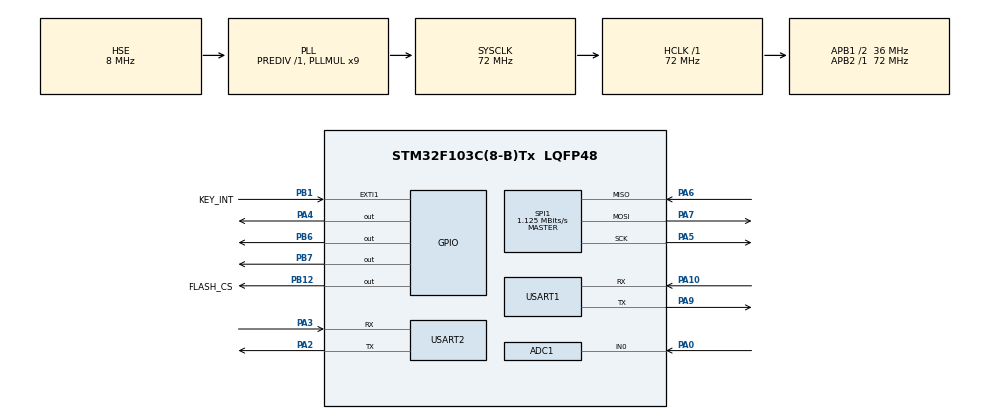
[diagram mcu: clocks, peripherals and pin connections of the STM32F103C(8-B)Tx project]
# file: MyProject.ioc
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ADC1.Channel-2\#ChannelRegularConversion=ADC_CHANNEL_0
ADC1.NbrOfConversionFlag=1
ADC1.Rank-2\#ChannelRegularConversion=1
ADC1.SamplingTime-2\#ChannelRegularConversion=ADC_SAMPLETIME_1CYCLE_5
ADC1.master=1
FREERTOS.BinarySemaphores01=keySemaphore,Dynamic,NULL,Depleted
FREERTOS.Queues01=sensorQueue,5,1,1,Dynamic,NULL,NULL
FREERTOS.Tasks01=myTask01,24,128,StartDefaultTask,Default,NULL,Dynamic,NULL,NULL;DisplayTask,24,128,StartDisplayTask,Default,NULL,Dynamic,NULL,NULL;LoggerTask,8,256,StartLoggerTask,Default,NULL,Dynamic,NULL,NULL
FREERTOS.configTOTAL_HEAP_SIZE=4096
Mcu.Family=STM32F1
Mcu.Name=STM32F103C(8-B)Tx
Mcu.Package=LQFP48
NVIC.EXTI1_IRQn=true\:5\:0\:true\:false\:true\:true\:true\:true\:true
NVIC.PriorityGroup=NVIC_PRIORITYGROUP_4
NVIC.TIM4_IRQn=true\:15\:0\:false\:false\:true\:false\:false\:true\:true
NVIC.TimeBase=TIM4_IRQn
NVIC.TimeBaseIP=TIM4
NVIC.USART2_IRQn=true\:5\:0\:false\:false\:true\:true\:true\:true\:true
PA0-WKUP.Signal=ADCx_IN0
PA10.Mode=Asynchronous
PA10.Signal=USART1_RX
PA13.Mode=Serial_Wire
PA13.Signal=SYS_JTMS-SWDIO
PA14.Mode=Serial_Wire
PA14.Signal=SYS_JTCK-SWCLK
PA2.Mode=Asynchronous
PA2.Signal=USART2_TX
PA3.Mode=Asynchronous
PA3.Signal=USART2_RX
PA4.Signal=GPIO_Output
PA5.Mode=Full_Duplex_Master
PA5.Signal=SPI1_SCK
PA6.Mode=Full_Duplex_Master
PA6.Signal=SPI1_MISO
PA7.Mode=Full_Duplex_Master
PA7.Signal=SPI1_MOSI
PA9.Mode=Asynchronous
PA9.Signal=USART1_TX
PB1.GPIO_Label=KEY_INT
PB1.GPIO_ModeDefaultEXTI=GPIO_MODE_IT_FALLING
PB1.GPIO_PuPd=GPIO_PULLUP
PB1.Signal=GPXTI1
PB12.GPIO_Label=FLASH_CS
PB12.Signal=GPIO_Output
PB6.Signal=GPIO_Output
PB7.Signal=GPIO_Output
PD0-OSC_IN.Mode=HSE-External-Oscillator
PD0-OSC_IN.Signal=RCC_OSC_IN
PD1-OSC_OUT.Mode=HSE-External-Oscillator
PD1-OSC_OUT.Signal=RCC_OSC_OUT
ProjectManager.HeapSize=0x200
ProjectManager.StackSize=0x400
ProjectManager.TargetToolchain=MDK-ARM V5.32
RCC.ADCPresc=RCC_ADCPCLK2_DIV6
RCC.AHBFreq_Value=72000000
RCC.APB1CLKDivider=RCC_HCLK_DIV2
RCC.APB1Freq_Value=36000000
RCC.APB1TimFreq_Value=72000000
RCC.APB2Freq_Value=72000000
RCC.APB2TimFreq_Value=72000000
RCC.HCLKFreq_Value=72000000
RCC.PLLMUL=RCC_PLL_MUL9
RCC.PLLSourceVirtual=RCC_PLLSOURCE_HSE
RCC.SYSCLKFreq_VALUE=72000000
RCC.SYSCLKSource=RCC_SYSCLKSOURCE_PLLCLK
RCC.USBFreq_Value=72000000
SH.ADCx_IN0.0=ADC1_IN0,IN0
SPI1.BaudRatePrescaler=SPI_BAUDRATEPRESCALER_64
SPI1.CLKPhase=SPI_PHASE_1EDGE
SPI1.CalculateBaudRate=1.125 MBits/s
SPI1.Direction=SPI_DIRECTION_2LINES
SPI1.Mode=SPI_MODE_MASTER
SPI1.VirtualType=VM_MASTER
USART1.VirtualMode=VM_ASYNC
USART2.VirtualMode=VM_ASYNC
VP_FREERTOS_VS_CMSIS_V2.Mode=CMSIS_V2
VP_SYS_VS_tim4.Mode=TIM4
board=custom

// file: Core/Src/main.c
/* USER CODE BEGIN Header */
/**
  ******************************************************************************
  * @file           : main.c
  * @brief          : Main program body
  ******************************************************************************
  * @attention
  *
  * Copyright (c) 2026 STMicroelectronics.
  * All rights reserved.
  *
  * This software is licensed under terms that can be found in the LICENSE file
  * in the root directory of this software component.
  * If no LICENSE file comes with this software, it is provided AS-IS.
  *
  ******************************************************************************
  */
/* USER CODE END Header */
#include "main.h"
#include "cmsis_os.h"
#include "adc.h"
#include "spi.h"
#include "usart.h"
#include "gpio.h"

/* USER CODE BEGIN Includes */
#include "OLED.h"
#include "AD.h"
#include "DHT11.h"
#include <stdio.h>
#include "stm32f1xx_hal.h"        // HAL 总头文件，已包含 IWDG 定义
#include "w25q64.h"                // ====== 新增：W25Q64驱动 ======
/* USER CODE END Includes */

/* USER CODE BEGIN PD */
// ====== 新增：LED和蜂鸣器引脚定义 ======
#define LED_Pin     GPIO_PIN_8
#define LED_GPIO_Port   GPIOA
#define BUZZER_Pin  GPIO_PIN_0
#define BUZZER_GPIO_Port GPIOB
/* USER CODE END PD */

void SystemClock_Config(void);
void MX_FREERTOS_Init(void);

/* USER CODE BEGIN 0 */
extern osSemaphoreId_t keySemaphoreHandle;

// 独立看门狗初始化（直接操作寄存器）
void IWDG_Init(void)
{
    // 1. 使能写访问
    IWDG->KR = 0x5555;
    // 2. 设置预分频器为 64 (即 IWDG_PRESCALER_64)
    IWDG->PR = 4;   // 4 对应 64 分频
    // 3. 设置重装载值，超时约 2 秒 (LSI 约 40kHz，64分频后 625Hz，1250/625=2s)
    IWDG->RLR = 1250;
    // 4. 刷新计数值
    IWDG->KR = 0xAAAA;
    // 5. 启动看门狗
    IWDG->KR = 0xCCCC;
}

// 喂狗
void IWDG_Feed(void)
{
    IWDG->KR = 0xAAAA;
}
/* USER CODE END 0 */

int main(void)
{

  /* MCU Configuration--------------------------------------------------------*/

  /* Reset of all peripherals, Initializes the Flash interface and the Systick. */
  HAL_Init();

  /* Configure the system clock */
  SystemClock_Config();

  /* Initialize all configured peripherals */
  MX_GPIO_Init();
  MX_ADC1_Init();
  MX_USART1_UART_Init();
  MX_SPI1_Init();
  MX_USART2_UART_Init();
  /* USER CODE BEGIN 2 */
  HAL_Delay(1000);
  OLED_Init();
  AD_Init();
  DHT11_Init();
  W25Q64_Init();
  printf("System starting...\r\n");

  // ====== 新增：初始化LED和蜂鸣器GPIO ======
  GPIO_InitTypeDef GPIO_InitStruct = {0};

  // LED初始化（PA8推挽输出，默认低电平）
  GPIO_InitStruct.Pin = LED_Pin;
  GPIO_InitStruct.Mode = GPIO_MODE_OUTPUT_PP;
  GPIO_InitStruct.Pull = GPIO_NOPULL;
  GPIO_InitStruct.Speed = GPIO_SPEED_FREQ_HIGH;
  HAL_GPIO_Init(LED_GPIO_Port, &GPIO_InitStruct);
  HAL_GPIO_WritePin(LED_GPIO_Port, LED_Pin, GPIO_PIN_RESET);

  // 蜂鸣器初始化（PB0推挽输出，默认高电平——不响）
  GPIO_InitStruct.Pin = BUZZER_Pin;
  GPIO_InitStruct.Mode = GPIO_MODE_OUTPUT_PP;
  GPIO_InitStruct.Pull = GPIO_NOPULL;
  GPIO_InitStruct.Speed = GPIO_SPEED_FREQ_HIGH;
  HAL_GPIO_Init(BUZZER_GPIO_Port, &GPIO_InitStruct);
  HAL_GPIO_WritePin(BUZZER_GPIO_Port, BUZZER_Pin, GPIO_PIN_SET);

  printf("GPIO initialized: LED(PA8), BUZZER(PB0)\r\n");

  // ====== 新增：W25Q64 SPI Flash 测试 ======
  // 注意：如果不需要测试，可以注释掉下面这段
  {
      uint8_t write_buf[] = "Hello W25Q64!";
      uint8_t read_buf[20] = {0};

      printf("Testing W25Q64...\r\n");
      W25Q64_Init();

      printf("Erasing sector...\r\n");
      W25Q64_SectorErase(0x000000);

      printf("Writing data...\r\n");
      W25Q64_PageWrite(0x000000, write_buf, sizeof(write_buf));

      printf("Reading data...\r\n");
      W25Q64_ReadData(0x000000, read_buf, sizeof(write_buf));

      printf("Read: %s\r\n", read_buf);
  }

  // 初始化看门狗
  //IWDG_Init();
  /* USER CODE END 2 */

  /* Init scheduler */
  osKernelInitialize();  /* Call init function for freertos objects (in cmsis_os2.c) */
  MX_FREERTOS_Init();

  /* Start scheduler */
  osKernelStart();

  /* We should never get here as control is now taken by the scheduler */

  /* Infinite loop */
  while (1)
  {

  }
}

void SystemClock_Config(void)
{
  RCC_OscInitTypeDef RCC_OscInitStruct = {0};
  RCC_ClkInitTypeDef RCC_ClkInitStruct = {0};
  RCC_PeriphCLKInitTypeDef PeriphClkInit = {0};

  /** Initializes the RCC Oscillators according to the specified parameters
  * in the RCC_OscInitTypeDef structure.
  */
  RCC_OscInitStruct.OscillatorType = RCC_OSCILLATORTYPE_HSE;
  RCC_OscInitStruct.HSEState = RCC_HSE_ON;
  RCC_OscInitStruct.HSEPredivValue = RCC_HSE_PREDIV_DIV1;
  RCC_OscInitStruct.HSIState = RCC_HSI_ON;
  RCC_OscInitStruct.PLL.PLLState = RCC_PLL_ON;
  RCC_OscInitStruct.PLL.PLLSource = RCC_PLLSOURCE_HSE;
  RCC_OscInitStruct.PLL.PLLMUL = RCC_PLL_MUL9;
  if (HAL_RCC_OscConfig(&RCC_OscInitStruct) != HAL_OK)
  {
    Error_Handler();
  }

  /** Initializes the CPU, AHB and APB buses clocks
  */
  RCC_ClkInitStruct.ClockType = RCC_CLOCKTYPE_HCLK|RCC_CLOCKTYPE_SYSCLK
                              |RCC_CLOCKTYPE_PCLK1|RCC_CLOCKTYPE_PCLK2;
  RCC_ClkInitStruct.SYSCLKSource = RCC_SYSCLKSOURCE_PLLCLK;
  RCC_ClkInitStruct.AHBCLKDivider = RCC_SYSCLK_DIV1;
  RCC_ClkInitStruct.APB1CLKDivider = RCC_HCLK_DIV2;
  RCC_ClkInitStruct.APB2CLKDivider = RCC_HCLK_DIV1;

  if (HAL_RCC_ClockConfig(&RCC_ClkInitStruct, FLASH_LATENCY_2) != HAL_OK)
  {
    Error_Handler();
  }
  PeriphClkInit.PeriphClockSelection = RCC_PERIPHCLK_ADC;
  PeriphClkInit.AdcClockSelection = RCC_ADCPCLK2_DIV6;
  if (HAL_RCCEx_PeriphCLKConfig(&PeriphClkInit) != HAL_OK)
  {
    Error_Handler();
  }
}

/* USER CODE BEGIN 4 */
void HAL_GPIO_EXTI_Callback(uint16_t GPIO_Pin)
{
    if (GPIO_Pin == GPIO_PIN_1)
    {
        BaseType_t xHigherPriorityTaskWoken = pdFALSE;
        osSemaphoreRelease(keySemaphoreHandle);
        portYIELD_FROM_ISR(xHigherPriorityTaskWoken);
    }
}
/* USER CODE END 4 */

void HAL_TIM_PeriodElapsedCallback(TIM_HandleTypeDef *htim)
{
  if (htim->Instance == TIM4)
  {
    HAL_IncTick();
  }
}

void Error_Handler(void)
{
  __disable_irq();
  while (1)
  {
  }
}

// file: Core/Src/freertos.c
/* USER CODE BEGIN Header */
/**
  ******************************************************************************
  * File Name          : freertos.c
  * Description        : Code for freertos applications
  ******************************************************************************
  */
/* USER CODE END Header */

#include "FreeRTOS.h"
#include "task.h"
#include "main.h"
#include "cmsis_os.h"

/* USER CODE BEGIN Includes */
#include "OLED.h"
#include "AD.h"
#include "DHT11.h"
#include <stdio.h>
#include <string.h>
#include "usart.h"
#include "w25q64.h"   // ====== W25Q64 缓存驱动 ======

// ====== 传感器数据包结构体 ======
typedef struct {
    uint32_t timestamp;
    uint8_t temp_int;
    uint8_t temp_dec;
    uint8_t humi_int;
    uint8_t humi_dec;
    uint16_t light;
    int smoke_level;
} SensorData_t;

// 网络状态枚举
typedef enum {
    NET_STATE_UNKNOWN,
    NET_STATE_WIFI_ERR,
    NET_STATE_WIFI_OK,
    NET_STATE_MQTT_OK
} NetState_t;

// 全局网络状态变量
NetState_t g_netState = NET_STATE_UNKNOWN;

extern void IWDG_Feed(void);

// ====== LED和蜂鸣器引脚定义 ======
#define LED_Pin     GPIO_PIN_8
#define LED_GPIO_Port   GPIOA
#define BUZZER_Pin  GPIO_PIN_0
#define BUZZER_GPIO_Port GPIOB

// ====== USART2接收队列 ======
osMessageQueueId_t uart2RxQueueHandle;
/* USER CODE END Includes */

/* Definitions for myTask01 */
osThreadId_t myTask01Handle;
const osThreadAttr_t myTask01_attributes = {
  .name = "myTask01",
  .stack_size = 128 * 4,
  .priority = (osPriority_t) osPriorityNormal,
};

/* Definitions for DisplayTask */
osThreadId_t DisplayTaskHandle;
const osThreadAttr_t DisplayTask_attributes = {
  .name = "DisplayTask",
  .stack_size = 128 * 4,
  .priority = (osPriority_t) osPriorityNormal,
};

/* Definitions for SensorTask */
osThreadId_t SensorTaskHandle;
const osThreadAttr_t SensorTask_attributes = {
  .name = "SensorTask",
  .stack_size = 256 * 4,
  .priority = (osPriority_t) osPriorityNormal,
};

/* Definitions for ReportTask */
osThreadId_t ReportTaskHandle;
const osThreadAttr_t ReportTask_attributes = {
  .name = "ReportTask",
  .stack_size = 256 * 4,
  .priority = (osPriority_t) osPriorityNormal,
};

/* 两个独立队列 */
osMessageQueueId_t displayQueueHandle;
osMessageQueueId_t reportQueueHandle;

/* Definitions for keySemaphore */
osSemaphoreId_t keySemaphoreHandle;
const osSemaphoreAttr_t keySemaphore_attributes = {
  .name = "keySemaphore"
};

/* USER CODE BEGIN FunctionPrototypes */
void StartSensorTask(void *argument);
void StartDisplayTask(void *argument);
void StartReportTask(void *argument);
/* USER CODE END FunctionPrototypes */

void StartDefaultTask(void *argument);
void MX_FREERTOS_Init(void);

void MX_FREERTOS_Init(void) {
  keySemaphoreHandle = osSemaphoreNew(1, 0, &keySemaphore_attributes);

  displayQueueHandle = osMessageQueueNew(5, sizeof(SensorData_t), NULL);
  reportQueueHandle = osMessageQueueNew(5, sizeof(SensorData_t), NULL);
  uart2RxQueueHandle = osMessageQueueNew(64, sizeof(uint8_t), NULL);

  if (displayQueueHandle == NULL || reportQueueHandle == NULL || uart2RxQueueHandle == NULL) {
      printf("ERROR: Queue creation failed!\r\n");
  } else {
      printf("Queues created successfully.\r\n");
  }

  myTask01Handle = osThreadNew(StartDefaultTask, NULL, &myTask01_attributes);
  DisplayTaskHandle = osThreadNew(StartDisplayTask, NULL, &DisplayTask_attributes);
  SensorTaskHandle = osThreadNew(StartSensorTask, NULL, &SensorTask_attributes);
  ReportTaskHandle = osThreadNew(StartReportTask, NULL, &ReportTask_attributes);
}

void StartDefaultTask(void *argument)
{
  for(;;) osDelay(1);
}

/* USER CODE BEGIN Header_StartSensorTask */
/**
  * @brief  传感器任务：读取 DHT11、光敏和烟雾，发送到两个队列
  */
/* USER CODE END Header_StartSensorTask */
void StartSensorTask(void *argument)
{
    SensorData_t sensorData;
    uint32_t tickCount;
    osStatus_t putDisplay, putReport;

    uint16_t smoke_raw = 0;
    int smoke_level = 0;

    for(;;)
    {
        tickCount = osKernelGetTickCount();
        sensorData.light = AD_GetValue();

        smoke_raw = AD_GetSmoke();

        if (smoke_raw <= 500) {
            smoke_level = 0;
        } else if (smoke_raw <= 1500) {
            smoke_level = 1;
        } else {
            smoke_level = 2;
        }

        if (DHT11_Read_Data(&sensorData.temp_int, &sensorData.temp_dec,
                            &sensorData.humi_int, &sensorData.humi_dec) == 0)
        {
            sensorData.timestamp = tickCount;
            sensorData.smoke_level = smoke_level;

            putDisplay = osMessageQueuePut(displayQueueHandle, &sensorData, 0, 100);
            putReport  = osMessageQueuePut(reportQueueHandle, &sensorData, 0, 100);

            if (putDisplay == osOK && putReport == osOK) {
                printf("Sensor: put OK, temp=%d.%d, humi=%d.%d, light=%d, smoke=%d(%d)\r\n",
                       sensorData.temp_int, sensorData.temp_dec,
                       sensorData.humi_int, sensorData.humi_dec,
                       sensorData.light, smoke_level, smoke_raw);
            } else {
                printf("Sensor: queue put error (display=%d, report=%d)\r\n", putDisplay, putReport);
            }

            // ====== 边缘联动报警 ======
            if (sensorData.temp_int >= 30 || smoke_level == 2) {
                HAL_GPIO_WritePin(BUZZER_GPIO_Port, BUZZER_Pin, GPIO_PIN_RESET);
                printf("ALERT! temp=%d, smoke_level=%d\r\n", sensorData.temp_int, smoke_level);
                HAL_UART_Transmit(&huart2, (uint8_t*)"ALERT\r\n", 7, 100);
            }
            else if (sensorData.temp_int <= 28 && smoke_level == 0) {
                HAL_GPIO_WritePin(BUZZER_GPIO_Port, BUZZER_Pin, GPIO_PIN_SET);
            }
        }
        else
        {
            printf("Sensor: DHT11 read failed\r\n");
        }

        IWDG_Feed();
        osDelay(1000);
    }
}

/* USER CODE BEGIN Header_StartDisplayTask */
/**
  * @brief  显示任务：从 displayQueue 获取数据并刷新 OLED
  */
/* USER CODE END Header_StartDisplayTask */
void StartDisplayTask(void *argument)
{
    SensorData_t sensorData;
    char buf[16];

    for(;;)
    {
        if (osMessageQueueGet(displayQueueHandle, &sensorData, NULL, osWaitForever) == osOK)
        {
            OLED_ShowString(1, 1, "Temp:");
            OLED_ShowNum(1, 6, sensorData.temp_int, 2);
            OLED_ShowChar(1, 8, '.');
            OLED_ShowNum(1, 9, sensorData.temp_dec, 1);
            OLED_ShowChar(1, 10, 'C');

            OLED_ShowString(2, 1, "Humi:");
            OLED_ShowNum(2, 6, sensorData.humi_int, 2);
            OLED_ShowChar(2, 8, '.');
            OLED_ShowNum(2, 9, sensorData.humi_dec, 1);
            OLED_ShowChar(2, 10, '%');

            OLED_ShowString(3, 1, "Light:");
            sprintf(buf, "%4d", sensorData.light);
            OLED_ShowString(3, 7, buf);

            OLED_ShowString(4, 1, "Smoke:");
            OLED_ShowNum(4, 7, sensorData.smoke_level, 1);
            if (sensorData.smoke_level == 0) {
                OLED_ShowString(4, 9, "N");
            } else if (sensorData.smoke_level == 1) {
                OLED_ShowString(4, 9, "W");
            } else {
                OLED_ShowString(4, 9, "A");
            }
        }
        osDelay(50);
    }
}

/* USER CODE BEGIN Header_StartReportTask */
/**
  * @brief  上报任务：发送传感器数据给ESP8266，并从队列读取USART2接收的数据
  * @note   根据网络状态决定发送或缓存，网络恢复后自动补传
  */
/* USER CODE END Header_StartReportTask */
void StartReportTask(void *argument)
{
    SensorData_t data;
    char tx_buf[64];
    char rx_buf[64];
    uint8_t rx_idx = 0;
    NetState_t newState = NET_STATE_UNKNOWN;
    uint8_t rx_byte;

    // ====== 记录上一次网络状态，用于检测状态变化 ======
    static NetState_t lastState = NET_STATE_UNKNOWN;

    printf("=== Report Task Start (send via USART2) ===\r\n");

    for(;;)
    {
        // ====== 从中断接收队列读取数据 ======
        while (osMessageQueueGet(uart2RxQueueHandle, &rx_byte, NULL, 0) == osOK) {
            if (rx_byte == '\n' || rx_byte == '\r') {
                if (rx_idx > 0) {
                    rx_buf[rx_idx] = '\0';

                    // ====== LED控制 ======
                    if (strstr(rx_buf, "CMD:LED_ON")) {
                        HAL_GPIO_WritePin(LED_GPIO_Port, LED_Pin, GPIO_PIN_SET);
                        printf("LED ON\r\n");
                        HAL_UART_Transmit(&huart2, (uint8_t*)"STA:LED_OK\r\n", 12, 100);
                    } else if (strstr(rx_buf, "CMD:LED_OFF")) {
                        HAL_GPIO_WritePin(LED_GPIO_Port, LED_Pin, GPIO_PIN_RESET);
                        printf("LED OFF\r\n");
                        HAL_UART_Transmit(&huart2, (uint8_t*)"STA:LED_OK\r\n", 12, 100);
                    }
                    // ====== 蜂鸣器控制 ======
                    else if (strstr(rx_buf, "CMD:BUZZER_ON")) {
                        HAL_GPIO_WritePin(BUZZER_GPIO_Port, BUZZER_Pin, GPIO_PIN_RESET);
                        printf("BUZZER ON\r\n");
                        HAL_UART_Transmit(&huart2, (uint8_t*)"STA:BUZZER_OK\r\n", 15, 100);
                    } else if (strstr(rx_buf, "CMD:BUZZER_OFF")) {
                        HAL_GPIO_WritePin(BUZZER_GPIO_Port, BUZZER_Pin, GPIO_PIN_SET);
                        printf("BUZZER OFF\r\n");
                        HAL_UART_Transmit(&huart2, (uint8_t*)"STA:BUZZER_OK\r\n", 15, 100);
                    }
                    // ====== 网络状态指令 ======
                    else if (strstr(rx_buf, "STA:WIFI_OK")) {
                        newState = NET_STATE_WIFI_OK;
                        printf("Net state: WIFI_OK\r\n");
                    } else if (strstr(rx_buf, "STA:MQTT_OK")) {
                        newState = NET_STATE_MQTT_OK;
                        printf("Net state: MQTT_OK\r\n");
                    } else if (strstr(rx_buf, "STA:WIFI_ERR")) {
                        newState = NET_STATE_WIFI_ERR;
                        printf("Net state: WIFI_ERR\r\n");
                    }
                    // ====== 网络恢复指令（备用触发方式） ======
                    else if (strstr(rx_buf, "NET_RECOVER")) {
                        printf("NET_RECOVER received, checking cache...\r\n");
                        uint32_t count = Cache_GetCount();
                        printf("Cache count: %lu\r\n", count);

                        if (count > 0) {
                            printf("Sending cached data...\r\n");
                            CachedData_t cached;
                            char buf[64];
                            uint32_t sent_count = 0;

                            while (Cache_Read(&cached)) {
                                snprintf(buf, sizeof(buf), "T:%.1f,H:%.1f,L:%d\r\n",
                                         cached.temp, cached.humi, cached.light);

                                if (HAL_UART_Transmit(&huart2, (uint8_t*)buf, strlen(buf), 100) == HAL_OK) {
                                    printf("Cache sent: %s", buf);
                                    sent_count++;
                                } else {
                                    printf("Cache send failed, retry later\r\n");
                                    break;
                                }
                                osDelay(50);
                            }
                            printf("Cache sent done, total: %lu\r\n", sent_count);
                        }
                    } else if (strlen(rx_buf) > 0) {
                        printf("Unknown: %s\r\n", rx_buf);
                    }
                }
                rx_idx = 0;
            } else {
                if (rx_idx < sizeof(rx_buf) - 1) {
                    rx_buf[rx_idx++] = rx_byte;
                }
            }
        }

        // ====== 发送传感器数据 ======
        if (osMessageQueueGet(reportQueueHandle, &data, NULL, 500) == osOK) {
            float temp = data.temp_int + data.temp_dec / 10.0f;
            float humi = data.humi_int + data.humi_dec / 10.0f;
            snprintf(tx_buf, sizeof(tx_buf), "T:%.1f,H:%.1f,L:%d\r\n", temp, humi, data.light);

            // ====== 根据网络状态决定发送或缓存 ======
            if (g_netState == NET_STATE_MQTT_OK) {
                // 网络在线，尝试发送
                if (HAL_UART_Transmit(&huart2, (uint8_t*)tx_buf, strlen(tx_buf), 100) == HAL_OK) {
                    printf("Sent to ESP8266: %s", tx_buf);
                } else {
                    // UART发送失败（硬件错误），缓存
                    CachedData_t cached;
                    cached.timestamp = data.timestamp;
                    cached.temp = temp;
                    cached.humi = humi;
                    cached.light = data.light;
                    cached.smoke = data.smoke_level;
                    Cache_Write(&cached);
                    printf("UART error, cached: %lu\r\n", Cache_GetCount());
                }
            } else {
                // ====== 网络离线，直接缓存 ======
                printf("Offline, caching data...\r\n");
                CachedData_t cached;
                cached.timestamp = data.timestamp;
                cached.temp = temp;
                cached.humi = humi;
                cached.light = data.light;
                cached.smoke = data.smoke_level;
                Cache_Write(&cached);
                printf("Cached, total: %lu\r\n", Cache_GetCount());
            }
        }

        // ====== 检测网络状态变化：从离线变为在线时自动补传 ======
        if (newState == NET_STATE_MQTT_OK && lastState != NET_STATE_MQTT_OK) {
            uint32_t count = Cache_GetCount();
            if (count > 0) {
                printf("MQTT reconnected, sending %lu cached data...\r\n", count);
                CachedData_t cached;
                char buf[64];
                uint32_t sent_count = 0;

                while (Cache_Read(&cached)) {
                    snprintf(buf, sizeof(buf), "T:%.1f,H:%.1f,L:%d\r\n",
                             cached.temp, cached.humi, cached.light);

                    if (HAL_UART_Transmit(&huart2, (uint8_t*)buf, strlen(buf), 100) == HAL_OK) {
                        printf("Cache sent: %s", buf);
                        sent_count++;
                    } else {
                        printf("Cache send failed, retry later\r\n");
                        break;
                    }
                    osDelay(50);
                }
                printf("Cache sent done: %lu\r\n", sent_count);
            }
        }
        lastState = newState;

        // ====== 更新全局网络状态 ======
        g_netState = newState;

        osDelay(100);
    }
}
